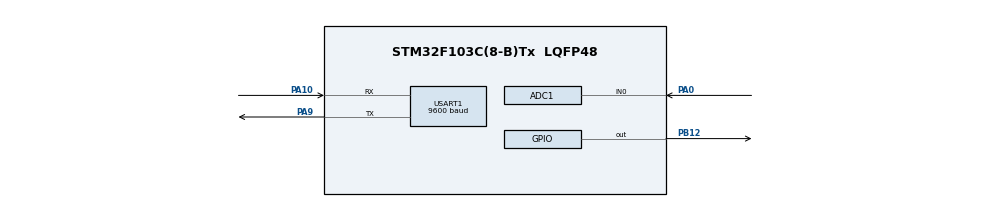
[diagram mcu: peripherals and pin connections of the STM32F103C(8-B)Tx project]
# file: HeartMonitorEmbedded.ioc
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ADC1.Channel-0\#ChannelRegularConversion=ADC_CHANNEL_0
ADC1.NbrOfConversionFlag=1
ADC1.Rank-0\#ChannelRegularConversion=1
ADC1.SamplingTime-0\#ChannelRegularConversion=ADC_SAMPLETIME_1CYCLE_5
ADC1.master=1
Mcu.Family=STM32F1
Mcu.Name=STM32F103C(8-B)Tx
Mcu.Package=LQFP48
NVIC.ADC1_2_IRQn=true\:0\:0\:false\:false\:true\:true\:true
NVIC.PriorityGroup=NVIC_PRIORITYGROUP_4
NVIC.TIM1_UP_IRQn=true\:0\:0\:false\:false\:true\:true\:true
NVIC.TIM2_IRQn=true\:0\:0\:false\:false\:true\:true\:true
NVIC.TIM3_IRQn=true\:0\:0\:false\:false\:true\:true\:true
NVIC.USART1_IRQn=true\:0\:0\:false\:false\:true\:true\:true
PA0-WKUP.Signal=ADCx_IN0
PA10.Mode=Asynchronous
PA10.Signal=USART1_RX
PA9.Mode=Asynchronous
PA9.Signal=USART1_TX
PB12.Signal=GPIO_Output
ProjectManager.HeapSize=0x200
ProjectManager.StackSize=0x400
ProjectManager.TargetToolchain=MDK-ARM V5.27
RCC.APB1Freq_Value=8000000
RCC.APB2Freq_Value=8000000
SH.ADCx_IN0.0=ADC1_IN0,IN0
TIM1.Channel-PWM\ Generation1\ No\ Output=TIM_CHANNEL_1
TIM1.Period=500-1
TIM1.Prescaler=800-1
TIM2.Channel-PWM\ Generation1\ No\ Output=TIM_CHANNEL_1
TIM2.Period=30000-1
TIM2.Prescaler=16000-1
TIM3.Channel-Output\ Compare1\ No\ Output=TIM_CHANNEL_1
TIM3.Period=100-1
TIM3.Prescaler=800-1
USART1.BaudRate=9600
USART1.VirtualMode=VM_ASYNC
VP_SYS_VS_ND.Mode=No_Debug
VP_TIM1_VS_ClockSourceINT.Mode=Internal
VP_TIM1_VS_no_output1.Mode=PWM Generation1 No Output
VP_TIM2_VS_ClockSourceINT.Mode=Internal
VP_TIM2_VS_no_output1.Mode=PWM Generation1 No Output
VP_TIM3_VS_ClockSourceINT.Mode=Internal
VP_TIM3_VS_no_output1.Mode=Output Compare1 No Output
board=custom

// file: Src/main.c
/* USER CODE BEGIN Header */
/**
  ******************************************************************************
  * @file           : main.c
  * @brief          : Main program body
  ******************************************************************************
  * @attention
  *
  * <h2><center>&copy; Copyright (c) 2020 STMicroelectronics.
  * All rights reserved.</center></h2>
  *
  * This software component is licensed by ST under BSD 3-Clause license,
  * the "License"; You may not use this file except in compliance with the
  * License. You may obtain a copy of the License at:
  *                        opensource.org/licenses/BSD-3-Clause
  *
  ******************************************************************************
  */
/* USER CODE END Header */

#include "main.h"

/* USER CODE BEGIN Includes */
#include "stm32f1xx_hal_tim.h"
/* USER CODE END Includes */

ADC_HandleTypeDef hadc1;

TIM_HandleTypeDef htim1;
TIM_HandleTypeDef htim2;
TIM_HandleTypeDef htim3;

UART_HandleTypeDef huart1;

void SystemClock_Config(void);
static void MX_GPIO_Init(void);
static void MX_USART1_UART_Init(void);
static void MX_ADC1_Init(void);
static void MX_TIM1_Init(void);
static void MX_TIM2_Init(void);
static void MX_TIM3_Init(void);

/* USER CODE BEGIN 0 */

uint8_t buf[1];
int sampling_rate = 20;
int reading_sampling_rate = 0;
int calculating_bpm = 0;
int bpm_values[200] = {0};
int bpm_index = 0;
/* USER CODE END 0 */

int main(void)
{

  /* MCU Configuration--------------------------------------------------------*/

  /* Reset of all peripherals, Initializes the Flash interface and the Systick. */
  HAL_Init();

  /* Configure the system clock */
  SystemClock_Config();

  /* Initialize all configured peripherals */
  MX_GPIO_Init();
  MX_USART1_UART_Init();
  MX_ADC1_Init();
  MX_TIM1_Init();
  MX_TIM2_Init();
  MX_TIM3_Init();
  /* USER CODE BEGIN 2 */
	HAL_GPIO_WritePin(GPIOB, GPIO_PIN_12, GPIO_PIN_SET);
	HAL_UART_Receive_IT(&huart1, buf, 1);

	__HAL_TIM_CLEAR_IT(&htim1, TIM_IT_UPDATE);
	__HAL_TIM_CLEAR_IT(&htim2, TIM_IT_UPDATE);
	__HAL_TIM_CLEAR_IT(&htim3, TIM_IT_UPDATE);

  /* USER CODE END 2 */

  /* Infinite loop */
  while (1)
  {

  }
}

void SystemClock_Config(void)
{
  RCC_OscInitTypeDef RCC_OscInitStruct = {0};
  RCC_ClkInitTypeDef RCC_ClkInitStruct = {0};
  RCC_PeriphCLKInitTypeDef PeriphClkInit = {0};

  /** Initializes the CPU, AHB and APB busses clocks
  */
  RCC_OscInitStruct.OscillatorType = RCC_OSCILLATORTYPE_HSI;
  RCC_OscInitStruct.HSIState = RCC_HSI_ON;
  RCC_OscInitStruct.HSICalibrationValue = RCC_HSICALIBRATION_DEFAULT;
  RCC_OscInitStruct.PLL.PLLState = RCC_PLL_NONE;
  if (HAL_RCC_OscConfig(&RCC_OscInitStruct) != HAL_OK)
  {
    Error_Handler();
  }
  /** Initializes the CPU, AHB and APB busses clocks
  */
  RCC_ClkInitStruct.ClockType = RCC_CLOCKTYPE_HCLK|RCC_CLOCKTYPE_SYSCLK
                              |RCC_CLOCKTYPE_PCLK1|RCC_CLOCKTYPE_PCLK2;
  RCC_ClkInitStruct.SYSCLKSource = RCC_SYSCLKSOURCE_HSI;
  RCC_ClkInitStruct.AHBCLKDivider = RCC_SYSCLK_DIV1;
  RCC_ClkInitStruct.APB1CLKDivider = RCC_HCLK_DIV1;
  RCC_ClkInitStruct.APB2CLKDivider = RCC_HCLK_DIV1;

  if (HAL_RCC_ClockConfig(&RCC_ClkInitStruct, FLASH_LATENCY_0) != HAL_OK)
  {
    Error_Handler();
  }
  PeriphClkInit.PeriphClockSelection = RCC_PERIPHCLK_ADC;
  PeriphClkInit.AdcClockSelection = RCC_ADCPCLK2_DIV2;
  if (HAL_RCCEx_PeriphCLKConfig(&PeriphClkInit) != HAL_OK)
  {
    Error_Handler();
  }
}

static void MX_ADC1_Init(void)
{

  ADC_ChannelConfTypeDef sConfig = {0};

  /** Common config
  */
  hadc1.Instance = ADC1;
  hadc1.Init.ScanConvMode = ADC_SCAN_DISABLE;
  hadc1.Init.ContinuousConvMode = DISABLE;
  hadc1.Init.DiscontinuousConvMode = DISABLE;
  hadc1.Init.ExternalTrigConv = ADC_SOFTWARE_START;
  hadc1.Init.DataAlign = ADC_DATAALIGN_RIGHT;
  hadc1.Init.NbrOfConversion = 1;
  if (HAL_ADC_Init(&hadc1) != HAL_OK)
  {
    Error_Handler();
  }
  /** Configure Regular Channel
  */
  sConfig.Channel = ADC_CHANNEL_0;
  sConfig.Rank = ADC_REGULAR_RANK_1;
  sConfig.SamplingTime = ADC_SAMPLETIME_1CYCLE_5;
  if (HAL_ADC_ConfigChannel(&hadc1, &sConfig) != HAL_OK)
  {
    Error_Handler();
  }

}

static void MX_TIM1_Init(void)
{

  TIM_ClockConfigTypeDef sClockSourceConfig = {0};
  TIM_MasterConfigTypeDef sMasterConfig = {0};
  TIM_OC_InitTypeDef sConfigOC = {0};
  TIM_BreakDeadTimeConfigTypeDef sBreakDeadTimeConfig = {0};

  htim1.Instance = TIM1;
  htim1.Init.Prescaler = 800-1;
  htim1.Init.CounterMode = TIM_COUNTERMODE_UP;
  htim1.Init.Period = 500-1;
  htim1.Init.ClockDivision = TIM_CLOCKDIVISION_DIV1;
  htim1.Init.RepetitionCounter = 0;
  htim1.Init.AutoReloadPreload = TIM_AUTORELOAD_PRELOAD_DISABLE;
  if (HAL_TIM_Base_Init(&htim1) != HAL_OK)
  {
    Error_Handler();
  }
  sClockSourceConfig.ClockSource = TIM_CLOCKSOURCE_INTERNAL;
  if (HAL_TIM_ConfigClockSource(&htim1, &sClockSourceConfig) != HAL_OK)
  {
    Error_Handler();
  }
  if (HAL_TIM_PWM_Init(&htim1) != HAL_OK)
  {
    Error_Handler();
  }
  sMasterConfig.MasterOutputTrigger = TIM_TRGO_RESET;
  sMasterConfig.MasterSlaveMode = TIM_MASTERSLAVEMODE_DISABLE;
  if (HAL_TIMEx_MasterConfigSynchronization(&htim1, &sMasterConfig) != HAL_OK)
  {
    Error_Handler();
  }
  sConfigOC.OCMode = TIM_OCMODE_PWM1;
  sConfigOC.Pulse = 0;
  sConfigOC.OCPolarity = TIM_OCPOLARITY_HIGH;
  sConfigOC.OCNPolarity = TIM_OCNPOLARITY_HIGH;
  sConfigOC.OCFastMode = TIM_OCFAST_DISABLE;
  sConfigOC.OCIdleState = TIM_OCIDLESTATE_RESET;
  sConfigOC.OCNIdleState = TIM_OCNIDLESTATE_RESET;
  if (HAL_TIM_PWM_ConfigChannel(&htim1, &sConfigOC, TIM_CHANNEL_1) != HAL_OK)
  {
    Error_Handler();
  }
  sBreakDeadTimeConfig.OffStateRunMode = TIM_OSSR_DISABLE;
  sBreakDeadTimeConfig.OffStateIDLEMode = TIM_OSSI_DISABLE;
  sBreakDeadTimeConfig.LockLevel = TIM_LOCKLEVEL_OFF;
  sBreakDeadTimeConfig.DeadTime = 0;
  sBreakDeadTimeConfig.BreakState = TIM_BREAK_DISABLE;
  sBreakDeadTimeConfig.BreakPolarity = TIM_BREAKPOLARITY_HIGH;
  sBreakDeadTimeConfig.AutomaticOutput = TIM_AUTOMATICOUTPUT_DISABLE;
  if (HAL_TIMEx_ConfigBreakDeadTime(&htim1, &sBreakDeadTimeConfig) != HAL_OK)
  {
    Error_Handler();
  }

}

static void MX_TIM2_Init(void)
{

  TIM_ClockConfigTypeDef sClockSourceConfig = {0};
  TIM_MasterConfigTypeDef sMasterConfig = {0};
  TIM_OC_InitTypeDef sConfigOC = {0};

  htim2.Instance = TIM2;
  htim2.Init.Prescaler = 16000-1;
  htim2.Init.CounterMode = TIM_COUNTERMODE_UP;
  htim2.Init.Period = 30000-1;
  htim2.Init.ClockDivision = TIM_CLOCKDIVISION_DIV1;
  htim2.Init.AutoReloadPreload = TIM_AUTORELOAD_PRELOAD_DISABLE;
  if (HAL_TIM_Base_Init(&htim2) != HAL_OK)
  {
    Error_Handler();
  }
  sClockSourceConfig.ClockSource = TIM_CLOCKSOURCE_INTERNAL;
  if (HAL_TIM_ConfigClockSource(&htim2, &sClockSourceConfig) != HAL_OK)
  {
    Error_Handler();
  }
  if (HAL_TIM_PWM_Init(&htim2) != HAL_OK)
  {
    Error_Handler();
  }
  sMasterConfig.MasterOutputTrigger = TIM_TRGO_RESET;
  sMasterConfig.MasterSlaveMode = TIM_MASTERSLAVEMODE_DISABLE;
  if (HAL_TIMEx_MasterConfigSynchronization(&htim2, &sMasterConfig) != HAL_OK)
  {
    Error_Handler();
  }
  sConfigOC.OCMode = TIM_OCMODE_PWM1;
  sConfigOC.Pulse = 0;
  sConfigOC.OCPolarity = TIM_OCPOLARITY_HIGH;
  sConfigOC.OCFastMode = TIM_OCFAST_DISABLE;
  if (HAL_TIM_PWM_ConfigChannel(&htim2, &sConfigOC, TIM_CHANNEL_1) != HAL_OK)
  {
    Error_Handler();
  }

}

static void MX_TIM3_Init(void)
{

  TIM_ClockConfigTypeDef sClockSourceConfig = {0};
  TIM_MasterConfigTypeDef sMasterConfig = {0};
  TIM_OC_InitTypeDef sConfigOC = {0};

  htim3.Instance = TIM3;
  htim3.Init.Prescaler = 800-1;
  htim3.Init.CounterMode = TIM_COUNTERMODE_UP;
  htim3.Init.Period = 100-1;
  htim3.Init.ClockDivision = TIM_CLOCKDIVISION_DIV1;
  htim3.Init.AutoReloadPreload = TIM_AUTORELOAD_PRELOAD_DISABLE;
  if (HAL_TIM_Base_Init(&htim3) != HAL_OK)
  {
    Error_Handler();
  }
  sClockSourceConfig.ClockSource = TIM_CLOCKSOURCE_INTERNAL;
  if (HAL_TIM_ConfigClockSource(&htim3, &sClockSourceConfig) != HAL_OK)
  {
    Error_Handler();
  }
  if (HAL_TIM_OC_Init(&htim3) != HAL_OK)
  {
    Error_Handler();
  }
  sMasterConfig.MasterOutputTrigger = TIM_TRGO_RESET;
  sMasterConfig.MasterSlaveMode = TIM_MASTERSLAVEMODE_DISABLE;
  if (HAL_TIMEx_MasterConfigSynchronization(&htim3, &sMasterConfig) != HAL_OK)
  {
    Error_Handler();
  }
  sConfigOC.OCMode = TIM_OCMODE_TIMING;
  sConfigOC.Pulse = 0;
  sConfigOC.OCPolarity = TIM_OCPOLARITY_HIGH;
  sConfigOC.OCFastMode = TIM_OCFAST_DISABLE;
  if (HAL_TIM_OC_ConfigChannel(&htim3, &sConfigOC, TIM_CHANNEL_1) != HAL_OK)
  {
    Error_Handler();
  }

}

static void MX_USART1_UART_Init(void)
{

  huart1.Instance = USART1;
  huart1.Init.BaudRate = 115200;
  huart1.Init.WordLength = UART_WORDLENGTH_8B;
  huart1.Init.StopBits = UART_STOPBITS_1;
  huart1.Init.Parity = UART_PARITY_NONE;
  huart1.Init.Mode = UART_MODE_TX_RX;
  huart1.Init.HwFlowCtl = UART_HWCONTROL_NONE;
  huart1.Init.OverSampling = UART_OVERSAMPLING_16;
  if (HAL_UART_Init(&huart1) != HAL_OK)
  {
    Error_Handler();
  }

}

static void MX_GPIO_Init(void)
{
  GPIO_InitTypeDef GPIO_InitStruct = {0};

  /* GPIO Ports Clock Enable */
  __HAL_RCC_GPIOA_CLK_ENABLE();
  __HAL_RCC_GPIOB_CLK_ENABLE();

  /*Configure GPIO pin Output Level */
  HAL_GPIO_WritePin(GPIOB, GPIO_PIN_12, GPIO_PIN_RESET);

  /*Configure GPIO pin : PB12 */
  GPIO_InitStruct.Pin = GPIO_PIN_12;
  GPIO_InitStruct.Mode = GPIO_MODE_OUTPUT_PP;
  GPIO_InitStruct.Pull = GPIO_NOPULL;
  GPIO_InitStruct.Speed = GPIO_SPEED_FREQ_LOW;
  HAL_GPIO_Init(GPIOB, &GPIO_InitStruct);

}

/* USER CODE BEGIN 4 */

void HAL_UART_RxCpltCallback(UART_HandleTypeDef *huart) {
	if (buf[0] == 'a'){
		calculating_bpm = 1;
		bpm_index = 0;
		HAL_TIM_Base_Start_IT(&htim3);
	}
	else if (buf[0] == 'b'){
		HAL_TIM_Base_Start_IT(&htim1);
		HAL_TIM_Base_Start_IT(&htim2);
	}
	else if (buf[0] == 'c'){
		if (reading_sampling_rate){
			reading_sampling_rate = 0;
			__HAL_TIM_SET_PRESCALER(&htim1, (16000 / sampling_rate) - 1);
		}
		else {
			reading_sampling_rate = 1;
			sampling_rate = 0;
		}
	}
	else if (reading_sampling_rate){
		if (buf[0] >= '0' && buf[0] <= '9'){
			sampling_rate = sampling_rate * 10 + buf[0] - '0';
		}
	}
	HAL_UART_Receive_IT(&huart1, buf, 1);
}

int getPeak(int vals[], int start, int end, int width) {
	if (start - width < 0 || end + width > 200) return -1;
	for (int i = start ; i < end; i++) {
		//Check if vals[i] is a peak
		int valid = 1;
		for (int j = 1; j <= 30 ; j++) {
			if (vals[i + j] > vals[i] || vals[i - j] > vals[i]){
				valid = 0;
				break;
			}
		}
		if (valid) return i;
	}
	return -1;
}

uint16_t conv;
uint8_t out[] = {0,0,0,0, '\r', '\n'};
void HAL_ADC_ConvCpltCallback(ADC_HandleTypeDef *hadc) {

	conv = HAL_ADC_GetValue(hadc);

	if (calculating_bpm){
		bpm_values[bpm_index++] = conv;
		if (bpm_index == 200){
			calculating_bpm = 0;
			HAL_TIM_Base_Stop_IT(&htim3);

			int peak1 = getPeak(bpm_values, 30, 100, 30);
			int peak2 = getPeak(bpm_values, peak1 + 1, 169, 30);

			if (peak1 != -1 && peak2 != -1) {
				int bpm = 6000 / (peak2 - peak1);
				out[3] = '0' + (bpm%10);
				bpm /= 10;
				out[2] = '0' + (bpm%10);
				bpm /= 10;
				out[1] = '0' + (bpm%10);
				bpm /= 10;
				out[0] = '0' + (bpm%10);
				HAL_UART_Transmit(&huart1, out, sizeof out, 100);
			}
		}
	}
	else {
		out[3] = '0' + (conv%10);
		conv /= 10;
		out[2] = '0' + (conv%10);
		conv /= 10;
		out[1] = '0' + (conv%10);
		conv /= 10;
		out[0] = '0' + (conv%10);
		HAL_UART_Transmit(&huart1, out, sizeof out, 100);
	}
}

void HAL_TIM_PeriodElapsedCallback(TIM_HandleTypeDef *htim){
	if (htim == &htim1) {
		HAL_ADC_Start_IT(&hadc1);
	}
	else if (htim == &htim2) {
		HAL_TIM_Base_Stop_IT(&htim1);
		HAL_TIM_Base_Stop_IT(&htim2);
	}
	else {
		HAL_ADC_Start_IT(&hadc1);
	}
}

/* USER CODE END 4 */

void Error_Handler(void)
{
}

/************************ (C) COPYRIGHT STMicroelectronics *****END OF FILE****/
